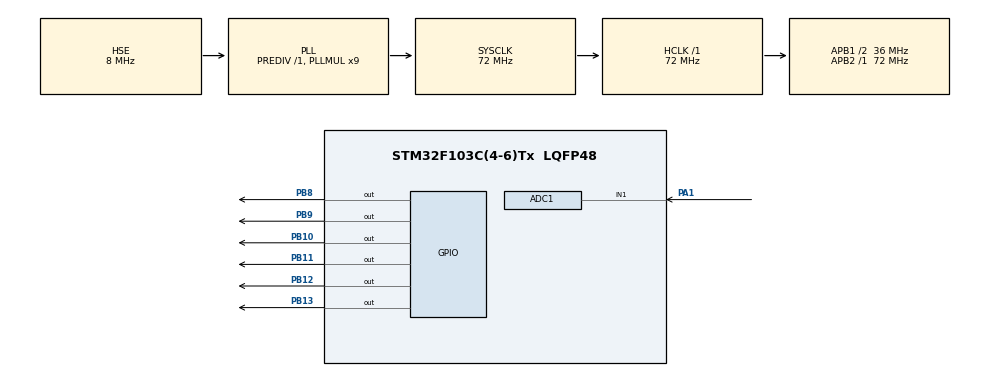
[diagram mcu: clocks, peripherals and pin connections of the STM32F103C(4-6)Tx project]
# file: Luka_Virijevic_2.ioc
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ADC1.Channel-0\#ChannelRegularConversion=ADC_CHANNEL_1
ADC1.NbrOfConversionFlag=1
ADC1.Rank-0\#ChannelRegularConversion=1
ADC1.SamplingTime-0\#ChannelRegularConversion=ADC_SAMPLETIME_1CYCLE_5
ADC1.master=1
Mcu.Family=STM32F1
Mcu.Name=STM32F103C(4-6)Tx
Mcu.Package=LQFP48
NVIC.PriorityGroup=NVIC_PRIORITYGROUP_4
PA1.Signal=ADCx_IN1
PB10.Signal=GPIO_Output
PB11.Signal=GPIO_Output
PB12.Signal=GPIO_Output
PB13.Signal=GPIO_Output
PB8.Signal=GPIO_Output
PB9.Signal=GPIO_Output
PC14-OSC32_IN.Mode=LSE-External-Oscillator
PC14-OSC32_IN.Signal=RCC_OSC32_IN
PC15-OSC32_OUT.Mode=LSE-External-Oscillator
PC15-OSC32_OUT.Signal=RCC_OSC32_OUT
PD0-OSC_IN.Mode=HSE-External-Oscillator
PD0-OSC_IN.Signal=RCC_OSC_IN
PD1-OSC_OUT.Mode=HSE-External-Oscillator
PD1-OSC_OUT.Signal=RCC_OSC_OUT
ProjectManager.HeapSize=0x200
ProjectManager.StackSize=0x400
ProjectManager.TargetToolchain=STM32CubeIDE
RCC.ADCPresc=RCC_ADCPCLK2_DIV6
RCC.AHBFreq_Value=72000000
RCC.APB1CLKDivider=RCC_HCLK_DIV2
RCC.APB1Freq_Value=36000000
RCC.APB1TimFreq_Value=72000000
RCC.APB2Freq_Value=72000000
RCC.APB2TimFreq_Value=72000000
RCC.HCLKFreq_Value=72000000
RCC.PLLMUL=RCC_PLL_MUL9
RCC.PLLSourceVirtual=RCC_PLLSOURCE_HSE
RCC.SYSCLKFreq_VALUE=72000000
RCC.SYSCLKSource=RCC_SYSCLKSOURCE_PLLCLK
RCC.USBFreq_Value=72000000
SH.ADCx_IN1.0=ADC1_IN1,IN1
board=custom

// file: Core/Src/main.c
/* USER CODE BEGIN Header */
/**
  ******************************************************************************
  * @file           : main.c
  * @brief          : Main program body
  ******************************************************************************
  * @attention
  *
  * Copyright (c) 2023 STMicroelectronics.
  * All rights reserved.
  *
  * This software is licensed under terms that can be found in the LICENSE file
  * in the root directory of this software component.
  * If no LICENSE file comes with this software, it is provided AS-IS.
  *
  ******************************************************************************
  */
/* USER CODE END Header */
#include "main.h"

int EPRUVETE[] = {3, 4, 2, 1, 3, 0, 0, 0, 1, 2, 3, 0, 1}; //moj niz epruveta
int NIZ[] = {5, 5}; //pomocni niz
int trazenaEpruveta = 2; //izbacujem epruvetu 2

ADC_HandleTypeDef hadc1;

void SystemClock_Config(void);
static void MX_GPIO_Init(void);
static void MX_ADC1_Init(void);

/* USER CODE BEGIN 0 */
float izracunajVrednost(uint16_t vin){
		float v = 3.3 * ((float)vin)/4096.0;
		float TEMP = v * 100;
		return TEMP; //temperatura u stepenima C
	}
/* USER CODE END 0 */

int main(void)
{
  /* USER CODE BEGIN 1 */
	uint16_t AD = 0; //vrednost u registru pri AD konverziji
	float t = 0.0;
	int TEMP = 65; //granicna temperatura
	int duzina1 = 0;
	int duzina2 = 1;
	int indeks1, indeks2;
  /* USER CODE END 1 */

  /* MCU Configuration--------------------------------------------------------*/

  /* Reset of all peripherals, Initializes the Flash interface and the Systick. */
  HAL_Init();

  /* Configure the system clock */
  SystemClock_Config();

  /* Initialize all configured peripherals */
  MX_GPIO_Init();
  MX_ADC1_Init();
  /* USER CODE BEGIN 2 */
  HAL_ADCEx_Calibration_Start(&hadc1);
  /* USER CODE END 2 */

  /* Infinite loop */
  while (1)
  {
	  HAL_ADC_Start(&hadc1);
	  HAL_ADC_PollForConversion(&hadc1, 100);
	  AD = HAL_ADC_GetValue(&hadc1);
	  t = izracunajVrednost(AD);
    /* USER CODE BEGIN 3 */
	  if(t == TEMP){//da li je dostignuta potrebna temperatura, ako jeste zaustavi motor
	  		HAL_GPIO_WritePin(GPIOB, GPIO_PIN_10 , GPIO_PIN_RESET);//inace je setovan,
	  		//disable prvog motora,
	  		for(int i = 0; i <= -6; i--){//provera epruvete u levom polukrugu
	  			if (EPRUVETE[i] == trazenaEpruveta){
	  				NIZ[0] = EPRUVETE[i];//ovu epruvetu izbacuje M2
	  				//motor 1 ce izbaciti epruvetu na mestu u nizu NIZ cija je vrednost
	  		  		//razlicita od 5, to znaci da je ta epruveta bliza i uzece nju
	  				indeks1 = i;
	  				if (i == 0){
	  					break;
	  				}
	  			}
	  			duzina1++;
	  			break;
	  		}
	  		for(int i = 1; i < 7; i++){//provera epruvete u desnom polukrugu
	  			if (EPRUVETE[i] == trazenaEpruveta){
	  			  	NIZ[1] = EPRUVETE[i];//ovu epruvetu izbacuje M2
	  			    //motor 1 ce izbaciti epruvetu na mestu u nizu NIZ cija je vrednost
	  			  	//razlicita od 5, to znaci da je ta epruveta bliza i uzece nju
	  			    indeks2 = i;
	  			    if (i == 1){
	  			  	  	break;
	  			  	  }
	  			}
	  			duzina2++;
	  			break;
	  		}
	  		if(duzina1 < duzina2){
	  			EPRUVETE[indeks1] = -1;//izbacena epruveta
	  			HAL_GPIO_WritePin(GPIOB, GPIO_PIN_9 , GPIO_PIN_RESET);//ide nalevo
	  			for(int j = 0; j<duzina1; j++){
	  				for(int k = 0; k<16; k++){
						HAL_GPIO_WritePin(GPIOB, GPIO_PIN_8 , GPIO_PIN_SET);
						HAL_Delay(5);
						HAL_GPIO_WritePin(GPIOB, GPIO_PIN_8 , GPIO_PIN_RESET);
						HAL_Delay(5);
	  			}}
	  		}
	  		else{
	  			EPRUVETE[indeks2] = -1;//izbacena epruveta
	  			HAL_GPIO_WritePin(GPIOB, GPIO_PIN_9 , GPIO_PIN_SET);//ide nadesno
	  			for(int j = 0; j<duzina1; j++){
	  				for(int k = 0; k<16; k++){
	  					HAL_GPIO_WritePin(GPIOB, GPIO_PIN_8, GPIO_PIN_SET);
	  					HAL_Delay(5);
	  					HAL_GPIO_WritePin(GPIOB, GPIO_PIN_8, GPIO_PIN_RESET);
	  					HAL_Delay(5);
	  			}}
	  		}
	  		HAL_GPIO_WritePin(GPIOB, GPIO_PIN_13, GPIO_PIN_SET);//enable drugog motora
	  		HAL_Delay(5);
	  		HAL_GPIO_WritePin(GPIOB, GPIO_PIN_12, GPIO_PIN_SET);//ide nadesno
	  		HAL_Delay(5);
	  		for(int i = 0; i<200; i++){//prevlacenje trazene epruvete preko trake
	  			//koju pokrece M2; M2 izbaci epruvetu do kraja za 200 njegovih
	  			//koraka
	  			HAL_GPIO_WritePin(GPIOB, GPIO_PIN_11, GPIO_PIN_SET);
	  			HAL_Delay(5);
	  		    HAL_GPIO_WritePin(GPIOB, GPIO_PIN_11, GPIO_PIN_RESET);
	  		    HAL_Delay(5);
	  		}
	  		HAL_GPIO_WritePin(GPIOB, GPIO_PIN_13, GPIO_PIN_RESET);//disable M2

	  }
  }
  /* USER CODE END 3 */
}
void SystemClock_Config(void)
{
  RCC_OscInitTypeDef RCC_OscInitStruct = {0};
  RCC_ClkInitTypeDef RCC_ClkInitStruct = {0};
  RCC_PeriphCLKInitTypeDef PeriphClkInit = {0};

  /** Initializes the RCC Oscillators according to the specified parameters
  * in the RCC_OscInitTypeDef structure.
  */
  RCC_OscInitStruct.OscillatorType = RCC_OSCILLATORTYPE_HSE;
  RCC_OscInitStruct.HSEState = RCC_HSE_ON;
  RCC_OscInitStruct.HSEPredivValue = RCC_HSE_PREDIV_DIV1;
  RCC_OscInitStruct.HSIState = RCC_HSI_ON;
  RCC_OscInitStruct.PLL.PLLState = RCC_PLL_ON;
  RCC_OscInitStruct.PLL.PLLSource = RCC_PLLSOURCE_HSE;
  RCC_OscInitStruct.PLL.PLLMUL = RCC_PLL_MUL9;
  if (HAL_RCC_OscConfig(&RCC_OscInitStruct) != HAL_OK)
  {
    Error_Handler();
  }

  /** Initializes the CPU, AHB and APB buses clocks
  */
  RCC_ClkInitStruct.ClockType = RCC_CLOCKTYPE_HCLK|RCC_CLOCKTYPE_SYSCLK
                              |RCC_CLOCKTYPE_PCLK1|RCC_CLOCKTYPE_PCLK2;
  RCC_ClkInitStruct.SYSCLKSource = RCC_SYSCLKSOURCE_PLLCLK;
  RCC_ClkInitStruct.AHBCLKDivider = RCC_SYSCLK_DIV1;
  RCC_ClkInitStruct.APB1CLKDivider = RCC_HCLK_DIV2;
  RCC_ClkInitStruct.APB2CLKDivider = RCC_HCLK_DIV1;

  if (HAL_RCC_ClockConfig(&RCC_ClkInitStruct, FLASH_LATENCY_2) != HAL_OK)
  {
    Error_Handler();
  }
  PeriphClkInit.PeriphClockSelection = RCC_PERIPHCLK_ADC;
  PeriphClkInit.AdcClockSelection = RCC_ADCPCLK2_DIV6;
  if (HAL_RCCEx_PeriphCLKConfig(&PeriphClkInit) != HAL_OK)
  {
    Error_Handler();
  }
}

static void MX_ADC1_Init(void)
{

  ADC_ChannelConfTypeDef sConfig = {0};

  /** Common config
  */
  hadc1.Instance = ADC1;
  hadc1.Init.ScanConvMode = ADC_SCAN_DISABLE;
  hadc1.Init.ContinuousConvMode = DISABLE;
  hadc1.Init.DiscontinuousConvMode = DISABLE;
  hadc1.Init.ExternalTrigConv = ADC_SOFTWARE_START;
  hadc1.Init.DataAlign = ADC_DATAALIGN_RIGHT;
  hadc1.Init.NbrOfConversion = 1;
  if (HAL_ADC_Init(&hadc1) != HAL_OK)
  {
    Error_Handler();
  }

  /** Configure Regular Channel
  */
  sConfig.Channel = ADC_CHANNEL_1;
  sConfig.Rank = ADC_REGULAR_RANK_1;
  sConfig.SamplingTime = ADC_SAMPLETIME_1CYCLE_5;
  if (HAL_ADC_ConfigChannel(&hadc1, &sConfig) != HAL_OK)
  {
    Error_Handler();
  }

}

static void MX_GPIO_Init(void)
{
  GPIO_InitTypeDef GPIO_InitStruct = {0};

  /* GPIO Ports Clock Enable */
  __HAL_RCC_GPIOC_CLK_ENABLE();
  __HAL_RCC_GPIOD_CLK_ENABLE();
  __HAL_RCC_GPIOA_CLK_ENABLE();
  __HAL_RCC_GPIOB_CLK_ENABLE();

  /*Configure GPIO pin Output Level */
  HAL_GPIO_WritePin(GPIOB, GPIO_PIN_11|GPIO_PIN_12|GPIO_PIN_13
                          |GPIO_PIN_8|GPIO_PIN_9, GPIO_PIN_RESET);

  HAL_GPIO_WritePin(GPIOB, GPIO_PIN_10, GPIO_PIN_SET);
  /*Configure GPIO pins : PB10 PB11 PB12 PB13
                           PB8 PB9 */
  GPIO_InitStruct.Pin = GPIO_PIN_10|GPIO_PIN_11|GPIO_PIN_12|GPIO_PIN_13
                          |GPIO_PIN_8|GPIO_PIN_9;
  GPIO_InitStruct.Mode = GPIO_MODE_OUTPUT_PP;
  GPIO_InitStruct.Pull = GPIO_NOPULL;
  GPIO_InitStruct.Speed = GPIO_SPEED_FREQ_LOW;
  HAL_GPIO_Init(GPIOB, &GPIO_InitStruct);

}

void Error_Handler(void)
{
  __disable_irq();
  while (1)
  {
  }
}
